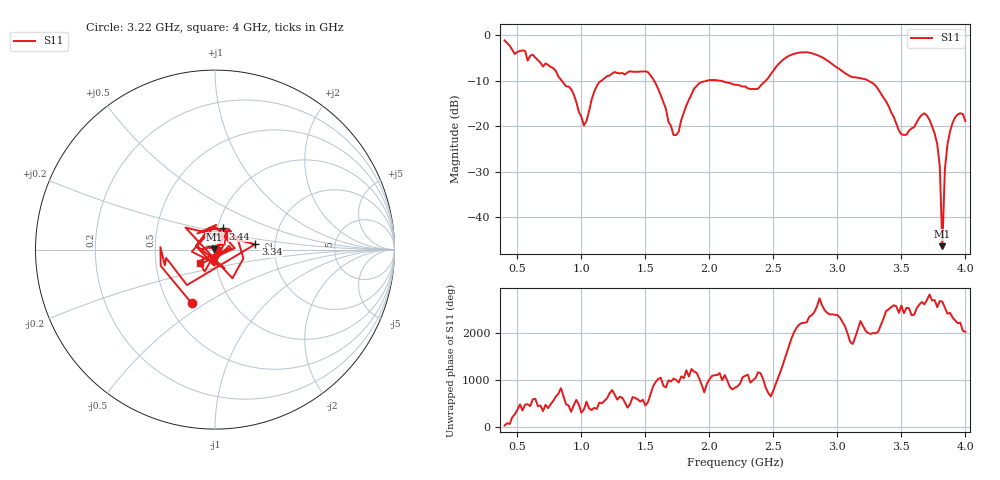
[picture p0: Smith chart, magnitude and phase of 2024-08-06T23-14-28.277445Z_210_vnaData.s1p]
!Created with skrf (http://scikit-rf.org).
# Hz S RI R 50.0
!freq ReS11 ImS11
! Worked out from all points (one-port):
!   181 points, 400 MHz to 4 GHz, reference 50 ohm
!   lowest |S11| = -46.4 dB at 3.82 GHz (marker M1), VSWR 1.01, Z = 49.6 + j0.272 ohm
!   |S11| at or under -10 dB: 1.567 GHz to 1.986 GHz (419.4 MHz wide, 23.6 % of centre); 2.072 GHz to 2.442 GHz (369.9 MHz wide, 16.4 % of centre); 3.239 GHz to end of sweep (the widest 3 of 4)
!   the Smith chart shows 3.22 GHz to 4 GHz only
!   S11 on the Smith chart (normalised r, x): 3.22 GHz: 0.65, -0.44; 3.34 GHz: 1.58, +0.10; 3.44 GHz: 1.06, +0.25; 4 GHz: 0.83, -0.13
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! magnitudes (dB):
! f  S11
! 400 MHz  -1.2
! 860 MHz  -10.5
! 940 MHz  -13.0
! 1.02 GHz  -19.9
! 1.14 GHz  -10.3
! 1.3 GHz  -8.4
! 1.52 GHz  -8.2
! 1.6 GHz  -11.8
! 1.72 GHz  -22.0
! 1.76 GHz  -21.3
! 1.92 GHz  -10.6
! 2.2 GHz  -10.9
! 2.38 GHz  -11.8
! 2.66 GHz  -4.1
! 3.1 GHz  -9.1
! 3.22 GHz  -9.7
! 3.34 GHz  -12.9
! 3.44 GHz  -18.0
! 3.5 GHz  -21.8
! 3.56 GHz  -21.0
! 3.68 GHz  -17.2
! 3.76 GHz  -21.6
! 3.8 GHz  -28.9
! 3.82 GHz  -46.4
! 3.84 GHz  -29.4
! 3.86 GHz  -24.1
! 3.92 GHz  -18.1
! 4 GHz  -18.9
